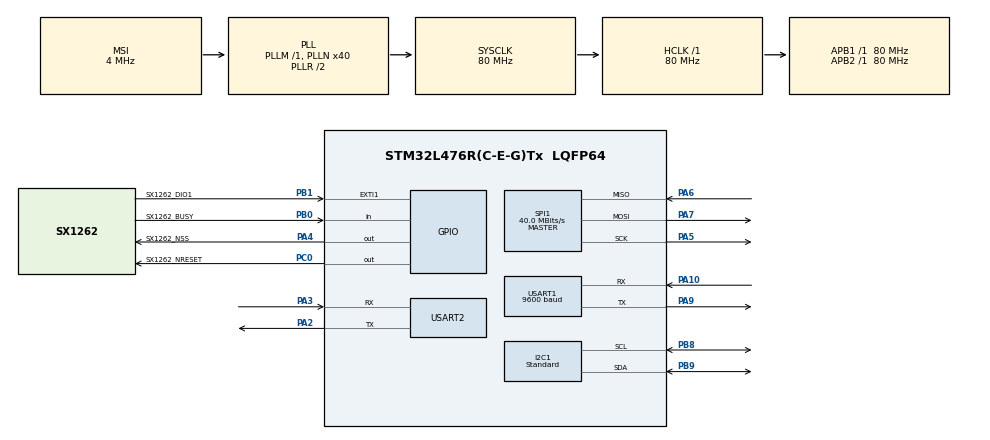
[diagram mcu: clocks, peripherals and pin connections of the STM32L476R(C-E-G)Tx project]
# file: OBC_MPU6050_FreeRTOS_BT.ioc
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FREERTOS.Tasks01=defaultTask,24,128,StartDefaultTask,Default,NULL,Dynamic,NULL,NULL
FREERTOS.configTOTAL_HEAP_SIZE=32000
FREERTOS.configUSE_NEWLIB_REENTRANT=1
I2C1.I2C_Speed_Mode=I2C_Standard
I2C1.Timing=0x10D19CE4
Mcu.Family=STM32L4
Mcu.Name=STM32L476R(C-E-G)Tx
Mcu.Package=LQFP64
NVIC.EXTI1_IRQn=true\:5\:0\:false\:false\:true\:true\:true\:true\:true
NVIC.PriorityGroup=NVIC_PRIORITYGROUP_4
NVIC.TIM6_DAC_IRQn=true\:15\:0\:false\:false\:true\:false\:false\:true\:true
NVIC.TimeBase=TIM6_DAC_IRQn
NVIC.TimeBaseIP=TIM6
PA10.Mode=Asynchronous
PA10.Signal=USART1_RX
PA13\ (JTMS-SWDIO).Mode=Serial_Wire
PA13\ (JTMS-SWDIO).Signal=SYS_JTMS-SWDIO
PA14\ (JTCK-SWCLK).Mode=Serial_Wire
PA14\ (JTCK-SWCLK).Signal=SYS_JTCK-SWCLK
PA2.Mode=Asynchronous
PA2.Signal=USART2_TX
PA3.Mode=Asynchronous
PA3.Signal=USART2_RX
PA4.GPIO_Label=SX1262_NSS
PA4.Signal=GPIO_Output
PA5.Mode=Full_Duplex_Master
PA5.Signal=SPI1_SCK
PA6.Mode=Full_Duplex_Master
PA6.Signal=SPI1_MISO
PA7.Mode=Full_Duplex_Master
PA7.Signal=SPI1_MOSI
PA9.Mode=Asynchronous
PA9.Signal=USART1_TX
PB0.GPIO_Label=SX1262_BUSY
PB0.Signal=GPIO_Input
PB1.GPIO_Label=SX1262_DIO1
PB1.Signal=GPXTI1
PB8.Mode=I2C
PB8.Signal=I2C1_SCL
PB9.Mode=I2C
PB9.Signal=I2C1_SDA
PC0.GPIO_Label=SX1262_NRESET
PC0.Signal=GPIO_Output
ProjectManager.HeapSize=0x200
ProjectManager.StackSize=0x400
ProjectManager.TargetToolchain=STM32CubeIDE
RCC.AHBFreq_Value=80000000
RCC.APB1Freq_Value=80000000
RCC.APB1TimFreq_Value=80000000
RCC.APB2Freq_Value=80000000
RCC.APB2TimFreq_Value=80000000
RCC.CortexFreq_Value=80000000
RCC.HCLKFreq_Value=80000000
RCC.HSE_VALUE=8000000
RCC.HSI_VALUE=16000000
RCC.LSE_VALUE=32768
RCC.MSI_VALUE=4000000
RCC.PLLN=40
RCC.SYSCLKFreq_VALUE=80000000
RCC.SYSCLKSource=RCC_SYSCLKSOURCE_PLLCLK
RCC.VCOOutputFreq_Value=160000000
SPI1.CalculateBaudRate=40.0 MBits/s
SPI1.Direction=SPI_DIRECTION_2LINES
SPI1.Mode=SPI_MODE_MASTER
SPI1.VirtualType=VM_MASTER
USART1.BaudRate=9600
USART1.VirtualMode-Asynchronous=VM_ASYNC
USART2.VirtualMode-Asynchronous=VM_ASYNC
VP_FREERTOS_VS_CMSIS_V2.Mode=CMSIS_V2
VP_SYS_VS_tim6.Mode=TIM6
board=custom

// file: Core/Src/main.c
/* USER CODE BEGIN Header */
/**
  ******************************************************************************
  * @file           : main.c
  * @brief          : Telemetria IMU/magnetometro con FreeRTOS y SX1262
  ******************************************************************************
  * Task_SensorFusion produce quaternion/eCompass y Task_RadioTest transmite
  * el ultimo payload LoRaWAN por SX1262. UART2 (USB, 115200) deja logs.
  ******************************************************************************
  */
/* USER CODE END Header */
#include "main.h"
#include "cmsis_os.h"

/* USER CODE BEGIN Includes */
#include <stdlib.h>
#include <stdio.h>
#include <string.h>
#include <math.h>
#include "FreeRTOS.h"
#include "task.h"
#include "queue.h"
#include "radio_test.h"
#include "mpu6050.h"
#include "hmc5883l.h"
#include "FusionAhrs.h"
#include "FusionBias.h"
#include "lorawan_crypto.h"
/* USER CODE END Includes */

I2C_HandleTypeDef hi2c1;

SPI_HandleTypeDef hspi1;

UART_HandleTypeDef huart1;
UART_HandleTypeDef huart2;

/* Definitions for defaultTask */
osThreadId_t defaultTaskHandle;
const osThreadAttr_t defaultTask_attributes = {
  .name = "defaultTask",
  .stack_size = 128 * 4,
  .priority = (osPriority_t) osPriorityNormal,
};
/* USER CODE BEGIN PV */

#define UART_TX_TIMEOUT_MS   100U
#define LORAWAN_FPORT        44U
#define LORAWAN_MAX_APP_LEN  51U
#define QUAT_UART_PERIOD_MS  20U     /* ~igual al periodo del lazo (vTaskDelay 20ms) → streaming fluido por cable */
#define LORAWAN_TX_PERIOD_MS 10000U
#define MAG_READ_PERIOD_MS   80U     /* HMC5883L a 15 Hz: muestra nueva cada ~67 ms */
#define MAG_DIAG_PERIOD_MS   500U
#define FUSION_USE_MAGNETOMETER 0U
#define FUSION_GAIN             0.50f
#define FUSION_SAMPLE_RATE_HZ   50.0f
#define FUSION_BIAS_STATIONARY_THRESHOLD_DPS 3.0f
#define FUSION_BIAS_STATIONARY_PERIOD_S      3.0f
#define ECOMPASS_ACCEL_DOWN_SIGN (-1.0f) /* Con chip hacia abajo, AZ plano debe quedar cerca de -1g. */
#define ECOMPASS_HEADING_SIGN     1.0f
#define ECOMPASS_HEADING_OFFSET_DEG 0.0f

TaskHandle_t radioTestTaskHandle;
TaskHandle_t sensorFusionTaskHandle;
static SemaphoreHandle_t uartMutexHandle;
static SemaphoreHandle_t telemetryMutexHandle;

typedef struct
{
    char payload[LORAWAN_MAX_APP_LEN + 1U];
    uint32_t updated_ms;
    bool valid;
} TelemetrySnapshot_t;

static TelemetrySnapshot_t telemetry_snapshot = {
    .payload = "QERR,NO_DATA",
    .updated_ms = 0U,
    .valid = false,
};

/* TTN ABP session for end-device stm32-obc-usm.
 * ABP uplinks use DevAddr + session keys; DevEUI is only registry identity. */
static const uint32_t LORAWAN_DEV_ADDR = 0x260D99FD;
static const uint8_t LORAWAN_NWK_SKEY[16] = {
    0x45, 0xEF, 0x6B, 0xB6, 0x4E, 0xCD, 0x79, 0x34,
    0xDF, 0x6D, 0x40, 0x16, 0x57, 0xB0, 0x8F, 0xCD
};
static const uint8_t LORAWAN_APP_SKEY[16] = {
    0x84, 0xE4, 0xEC, 0xD9, 0x06, 0x5F, 0x17, 0xA3,
    0xB0, 0xE2, 0x03, 0xF3, 0x23, 0x28, 0x35, 0xAC
};
static uint32_t lorawan_fcnt_up = 0;

/* USER CODE END PV */

void SystemClock_Config(void);
static void MX_GPIO_Init(void);
static void MX_I2C1_Init(void);
static void MX_USART1_UART_Init(void);
static void MX_USART2_UART_Init(void);
static void MX_SPI1_Init(void);
void StartDefaultTask(void *argument);

/* USER CODE BEGIN PFP */
void Task_RadioTest(void *argument);
void Task_SensorFusion(void *argument);
/* USER CODE END PFP */

/* USER CODE BEGIN 0 */
void vApplicationStackOverflowHook(TaskHandle_t xTask, char *pcTaskName)
{
    char msg[64];
    snprintf(msg, sizeof(msg), "STACK OVERFLOW: %s\r\n", pcTaskName);
    HAL_UART_Transmit(&huart2, (uint8_t*)msg, strlen(msg), HAL_MAX_DELAY);
    __disable_irq();
    while (1) {}
}
/* USER CODE END 0 */

int main(void)
{

  /* MCU Configuration--------------------------------------------------------*/

  /* Reset of all peripherals, Initializes the Flash interface and the Systick. */
  HAL_Init();

  /* Configure the system clock */
  SystemClock_Config();

  /* Initialize all configured peripherals */
  MX_GPIO_Init();
  MX_I2C1_Init();
  MX_USART1_UART_Init();
  MX_USART2_UART_Init();
  MX_SPI1_Init();
  /* USER CODE BEGIN 2 */
  uint32_t pclk1 = HAL_RCC_GetPCLK1Freq();
  char dbg[64];
  snprintf(dbg, sizeof(dbg), "PCLK1=%lu Hz\r\n", pclk1);
  HAL_UART_Transmit(&huart2, (uint8_t*)dbg, strlen(dbg), 100);
  /* USER CODE END 2 */

  /* Init scheduler */
  osKernelInitialize();

  /* USER CODE BEGIN RTOS_MUTEX */
  uartMutexHandle = xSemaphoreCreateMutex();
  telemetryMutexHandle = xSemaphoreCreateMutex();
  if ((uartMutexHandle == NULL) || (telemetryMutexHandle == NULL)) {
    Error_Handler();
  }
  /* USER CODE END RTOS_MUTEX */

  /* Create the thread(s) */
  /* creation of defaultTask */
  defaultTaskHandle = osThreadNew(StartDefaultTask, NULL, &defaultTask_attributes);

  /* USER CODE BEGIN RTOS_THREADS */
  if (xTaskCreate(Task_RadioTest, "RADIOTEST", 1024, NULL, osPriorityNormal, &radioTestTaskHandle) != pdPASS) {
    Error_Handler();
  }
  if (xTaskCreate(Task_SensorFusion, "SENSOR", 1024, NULL, osPriorityAboveNormal, &sensorFusionTaskHandle) != pdPASS) {
    Error_Handler();
  }
  /* USER CODE END RTOS_THREADS */

  /* Start scheduler */
  osKernelStart();

  /* We should never get here as control is now taken by the scheduler */

  /* Infinite loop */
  while (1)
  {

  }
}

void SystemClock_Config(void)
{
  RCC_OscInitTypeDef RCC_OscInitStruct = {0};
  RCC_ClkInitTypeDef RCC_ClkInitStruct = {0};

  /** Configure the main internal regulator output voltage
  */
  if (HAL_PWREx_ControlVoltageScaling(PWR_REGULATOR_VOLTAGE_SCALE1) != HAL_OK)
  {
    Error_Handler();
  }

  /** Initializes the RCC Oscillators according to the specified parameters
  * in the RCC_OscInitTypeDef structure.
  */
  RCC_OscInitStruct.OscillatorType = RCC_OSCILLATORTYPE_MSI;
  RCC_OscInitStruct.MSIState = RCC_MSI_ON;
  RCC_OscInitStruct.MSICalibrationValue = 0;
  RCC_OscInitStruct.MSIClockRange = RCC_MSIRANGE_6;
  RCC_OscInitStruct.PLL.PLLState = RCC_PLL_ON;
  RCC_OscInitStruct.PLL.PLLSource = RCC_PLLSOURCE_MSI;
  RCC_OscInitStruct.PLL.PLLM = 1;
  RCC_OscInitStruct.PLL.PLLN = 40;
  RCC_OscInitStruct.PLL.PLLP = RCC_PLLP_DIV7;
  RCC_OscInitStruct.PLL.PLLQ = RCC_PLLQ_DIV2;
  RCC_OscInitStruct.PLL.PLLR = RCC_PLLR_DIV2;
  if (HAL_RCC_OscConfig(&RCC_OscInitStruct) != HAL_OK)
  {
    Error_Handler();
  }

  /** Initializes the CPU, AHB and APB buses clocks
  */
  RCC_ClkInitStruct.ClockType = RCC_CLOCKTYPE_HCLK|RCC_CLOCKTYPE_SYSCLK
                              |RCC_CLOCKTYPE_PCLK1|RCC_CLOCKTYPE_PCLK2;
  RCC_ClkInitStruct.SYSCLKSource = RCC_SYSCLKSOURCE_PLLCLK;
  RCC_ClkInitStruct.AHBCLKDivider = RCC_SYSCLK_DIV1;
  RCC_ClkInitStruct.APB1CLKDivider = RCC_HCLK_DIV1;
  RCC_ClkInitStruct.APB2CLKDivider = RCC_HCLK_DIV1;

  if (HAL_RCC_ClockConfig(&RCC_ClkInitStruct, FLASH_LATENCY_4) != HAL_OK)
  {
    Error_Handler();
  }
}

static void MX_I2C1_Init(void)
{

  hi2c1.Instance = I2C1;
  hi2c1.Init.Timing = 0x10D19CE4;
  hi2c1.Init.OwnAddress1 = 0;
  hi2c1.Init.AddressingMode = I2C_ADDRESSINGMODE_7BIT;
  hi2c1.Init.DualAddressMode = I2C_DUALADDRESS_DISABLE;
  hi2c1.Init.OwnAddress2 = 0;
  hi2c1.Init.OwnAddress2Masks = I2C_OA2_NOMASK;
  hi2c1.Init.GeneralCallMode = I2C_GENERALCALL_DISABLE;
  hi2c1.Init.NoStretchMode = I2C_NOSTRETCH_DISABLE;
  if (HAL_I2C_Init(&hi2c1) != HAL_OK)
  {
    Error_Handler();
  }

  /** Configure Analogue filter
  */
  if (HAL_I2CEx_ConfigAnalogFilter(&hi2c1, I2C_ANALOGFILTER_ENABLE) != HAL_OK)
  {
    Error_Handler();
  }

  /** Configure Digital filter
  */
  if (HAL_I2CEx_ConfigDigitalFilter(&hi2c1, 0) != HAL_OK)
  {
    Error_Handler();
  }

}

static void MX_SPI1_Init(void)
{

  /* SPI1 parameter configuration*/
  hspi1.Instance = SPI1;
  hspi1.Init.Mode = SPI_MODE_MASTER;
  hspi1.Init.Direction = SPI_DIRECTION_2LINES;
  hspi1.Init.DataSize = SPI_DATASIZE_8BIT;
  hspi1.Init.CLKPolarity = SPI_POLARITY_LOW;
  hspi1.Init.CLKPhase = SPI_PHASE_1EDGE;
  hspi1.Init.NSS = SPI_NSS_SOFT;
  hspi1.Init.BaudRatePrescaler = SPI_BAUDRATEPRESCALER_64; /* ~1.25 MHz, validado para este cableado de protoboard */
  hspi1.Init.FirstBit = SPI_FIRSTBIT_MSB;
  hspi1.Init.TIMode = SPI_TIMODE_DISABLE;
  hspi1.Init.CRCCalculation = SPI_CRCCALCULATION_DISABLE;
  hspi1.Init.CRCPolynomial = 7;
  hspi1.Init.CRCLength = SPI_CRC_LENGTH_DATASIZE;
  hspi1.Init.NSSPMode = SPI_NSS_PULSE_ENABLE;
  if (HAL_SPI_Init(&hspi1) != HAL_OK)
  {
    Error_Handler();
  }

}

static void MX_USART1_UART_Init(void)
{

  huart1.Instance = USART1;
  huart1.Init.BaudRate = 9600;
  huart1.Init.WordLength = UART_WORDLENGTH_8B;
  huart1.Init.StopBits = UART_STOPBITS_1;
  huart1.Init.Parity = UART_PARITY_NONE;
  huart1.Init.Mode = UART_MODE_TX_RX;
  huart1.Init.HwFlowCtl = UART_HWCONTROL_NONE;
  huart1.Init.OverSampling = UART_OVERSAMPLING_16;
  huart1.Init.OneBitSampling = UART_ONE_BIT_SAMPLE_DISABLE;
  huart1.AdvancedInit.AdvFeatureInit = UART_ADVFEATURE_NO_INIT;
  if (HAL_UART_Init(&huart1) != HAL_OK)
  {
    Error_Handler();
  }

}

static void MX_USART2_UART_Init(void)
{

  huart2.Instance = USART2;
  huart2.Init.BaudRate = 115200;
  huart2.Init.WordLength = UART_WORDLENGTH_8B;
  huart2.Init.StopBits = UART_STOPBITS_1;
  huart2.Init.Parity = UART_PARITY_NONE;
  huart2.Init.Mode = UART_MODE_TX_RX;
  huart2.Init.HwFlowCtl = UART_HWCONTROL_NONE;
  huart2.Init.OverSampling = UART_OVERSAMPLING_16;
  huart2.Init.OneBitSampling = UART_ONE_BIT_SAMPLE_DISABLE;
  huart2.AdvancedInit.AdvFeatureInit = UART_ADVFEATURE_NO_INIT;
  if (HAL_UART_Init(&huart2) != HAL_OK)
  {
    Error_Handler();
  }

}

static void MX_GPIO_Init(void)
{
  GPIO_InitTypeDef GPIO_InitStruct = {0};

  /* GPIO Ports Clock Enable */
  __HAL_RCC_GPIOC_CLK_ENABLE();
  __HAL_RCC_GPIOA_CLK_ENABLE();
  __HAL_RCC_GPIOB_CLK_ENABLE();

  /*Configure GPIO pin Output Level */
  HAL_GPIO_WritePin(SX1262_NRESET_GPIO_Port, SX1262_NRESET_Pin, GPIO_PIN_RESET);

  /*Configure GPIO pin Output Level */
  /* NSS arranca en alto (deseleccionado) — en bajo deja al SX1262
   * seleccionado antes de que el SPI esté listo para transaccionar. */
  HAL_GPIO_WritePin(SX1262_NSS_GPIO_Port, SX1262_NSS_Pin, GPIO_PIN_SET);

  /*Configure GPIO pin : SX1262_NRESET_Pin */
  GPIO_InitStruct.Pin = SX1262_NRESET_Pin;
  GPIO_InitStruct.Mode = GPIO_MODE_OUTPUT_PP;
  GPIO_InitStruct.Pull = GPIO_NOPULL;
  GPIO_InitStruct.Speed = GPIO_SPEED_FREQ_LOW;
  HAL_GPIO_Init(SX1262_NRESET_GPIO_Port, &GPIO_InitStruct);

  /*Configure GPIO pin : SX1262_NSS_Pin */
  GPIO_InitStruct.Pin = SX1262_NSS_Pin;
  GPIO_InitStruct.Mode = GPIO_MODE_OUTPUT_PP;
  GPIO_InitStruct.Pull = GPIO_NOPULL;
  GPIO_InitStruct.Speed = GPIO_SPEED_FREQ_LOW;
  HAL_GPIO_Init(SX1262_NSS_GPIO_Port, &GPIO_InitStruct);

  /*Configure GPIO pin : SX1262_BUSY_Pin */
  /* Pull-down a propósito (diagnóstico): si el módulo está desconectado o
   * sin alimentación, BUSY flotante debe leerse en bajo de forma estable
   * en vez de ruido ambiguo — así "BUSY libre" no da falsa confianza. */
  GPIO_InitStruct.Pin = SX1262_BUSY_Pin;
  GPIO_InitStruct.Mode = GPIO_MODE_INPUT;
  GPIO_InitStruct.Pull = GPIO_PULLDOWN;
  HAL_GPIO_Init(SX1262_BUSY_GPIO_Port, &GPIO_InitStruct);

  /*Configure GPIO pin : SX1262_DIO1_Pin */
  GPIO_InitStruct.Pin = SX1262_DIO1_Pin;
  GPIO_InitStruct.Mode = GPIO_MODE_IT_RISING;
  GPIO_InitStruct.Pull = GPIO_NOPULL;
  HAL_GPIO_Init(SX1262_DIO1_GPIO_Port, &GPIO_InitStruct);

  /* EXTI interrupt init*/
  HAL_NVIC_SetPriority(EXTI1_IRQn, 5, 0);
  HAL_NVIC_EnableIRQ(EXTI1_IRQn);

}

/* USER CODE BEGIN 4 */

/*
 * Task_RadioTest — build de prueba mínima del driver SX1262 (Semtech
 * sx126x_driver vendorizado + HAL STM32 propio, ver Drivers/SX126x/).
 *
 * Secuencia: REGTEST -> XOSC -> telemetría de quaternion por LoRa cada 10 s.
 * REGTEST es diagnóstico: por defecto no detiene el flujo.
 */
static int16_t quat_to_q10000(float value)
{
    if (value > 1.0f) {
        value = 1.0f;
    } else if (value < -1.0f) {
        value = -1.0f;
    }

    const float scaled = value * 10000.0f;
    return (int16_t)((scaled >= 0.0f) ? (scaled + 0.5f) : (scaled - 0.5f));
}

static void format_quaternion_payload(const FusionQuaternion q, char *payload, size_t payload_len)
{
    snprintf(payload, payload_len, "Q,%+06d,%+06d,%+06d,%+06d",
             quat_to_q10000(q.element.w),
             quat_to_q10000(q.element.x),
             quat_to_q10000(q.element.y),
             quat_to_q10000(q.element.z));
}

static int16_t mag_to_payload_d10(float value_mg)
{
    float value = value_mg * 0.1f;
    if (value > 999.0f) {
        value = 999.0f;
    }
    if (value < -999.0f) {
        value = -999.0f;
    }
    return (int16_t)((value >= 0.0f) ? (value + 0.5f) : (value - 0.5f));
}

static float wrap_heading_degrees(float heading)
{
    while (heading < 0.0f) {
        heading += 360.0f;
    }
    while (heading >= 360.0f) {
        heading -= 360.0f;
    }
    return heading;
}

static void compass_vector_from_heading(float heading_deg,
                                        HMC5883L_CalData_t *horizontal)
{
    if (horizontal == NULL) return;

    const float heading_rad = heading_deg * (3.14159265358979323846f / 180.0f);
    horizontal->x = 1000.0f * cosf(heading_rad);
    horizontal->y = 1000.0f * sinf(heading_rad);
    horizontal->z = 0.0f;
}

static bool calculate_ecompass_heading_an4248(const FusionVector accelerometer,
                                              const FusionVector magnetometer,
                                              float *heading_deg)
{
    if (heading_deg == NULL) {
        return false;
    }

    const float ax = accelerometer.axis.x;
    const float ay = accelerometer.axis.y;
    const float az = accelerometer.axis.z;
    const float accel_norm = sqrtf((ax * ax) + (ay * ay) + (az * az));
    if (accel_norm < 0.25f) {
        return false;
    }

    /* AN4248: acelerómetro y magnetómetro primero deben estar en el mismo
     * marco. Convertimos la lectura del acelerómetro en vector "down". */
    const float down_x = ECOMPASS_ACCEL_DOWN_SIGN * ax / accel_norm;
    const float down_y = ECOMPASS_ACCEL_DOWN_SIGN * ay / accel_norm;
    const float down_z = ECOMPASS_ACCEL_DOWN_SIGN * az / accel_norm;

    const float mx = magnetometer.axis.x;
    const float my = magnetometer.axis.y;
    const float mz = magnetometer.axis.z;
    const float vertical_mag = (mx * down_x) + (my * down_y) + (mz * down_z);

    const float north_x = mx - (vertical_mag * down_x);
    const float north_y = my - (vertical_mag * down_y);
    const float horizontal_norm = sqrtf((north_x * north_x) + (north_y * north_y));
    if (horizontal_norm < 1.0f) {
        return false;
    }

    *heading_deg = wrap_heading_degrees((ECOMPASS_HEADING_SIGN *
                                        atan2f(north_y, north_x) *
                                        (180.0f / 3.14159265358979323846f)) +
                                        ECOMPASS_HEADING_OFFSET_DEG);
    return true;
}

static void format_telemetry_payload(const FusionQuaternion q,
                                     const HMC5883L_CalData_t *mag,
                                     bool mag_ok,
                                     char *payload,
                                     size_t payload_len)
{
    if (mag_ok && (mag != NULL)) {
        snprintf(payload, payload_len,
                 "Q,%+06d,%+06d,%+06d,%+06d,M,%+04d,%+04d,%+04d,%u",
                 quat_to_q10000(q.element.w),
                 quat_to_q10000(q.element.x),
                 quat_to_q10000(q.element.y),
                 quat_to_q10000(q.element.z),
                 mag_to_payload_d10(mag->x),
                 mag_to_payload_d10(mag->y),
                 mag_to_payload_d10(mag->z),
                 1U);
    } else {
        format_quaternion_payload(q, payload, payload_len);
    }
}

static int16_t clamp_float_to_i16(float value)
{
    if (value > 32767.0f) {
        return 32767;
    }
    if (value < -32768.0f) {
        return -32768;
    }
    return (int16_t)((value >= 0.0f) ? (value + 0.5f) : (value - 0.5f));
}

static uint8_t build_lorawan_abp_uplink(const uint8_t *app_payload,
                                        uint8_t app_len,
                                        uint8_t fport,
                                        uint8_t *frame,
                                        uint8_t frame_max)
{
    if ((app_payload == NULL) || (frame == NULL) ||
        (app_len > LORAWAN_MAX_APP_LEN) || (frame_max < (uint8_t)(13U + app_len))) {
        return 0;
    }

    uint8_t idx = 0;
    frame[idx++] = 0x40; /* MHDR: Unconfirmed Data Up, LoRaWAN 1.0 */

    frame[idx++] = (uint8_t)(LORAWAN_DEV_ADDR & 0xFF);
    frame[idx++] = (uint8_t)((LORAWAN_DEV_ADDR >> 8) & 0xFF);
    frame[idx++] = (uint8_t)((LORAWAN_DEV_ADDR >> 16) & 0xFF);
    frame[idx++] = (uint8_t)((LORAWAN_DEV_ADDR >> 24) & 0xFF);

    frame[idx++] = 0x00; /* FCtrl: no ADR, no ACK, FOptsLen=0 */
    frame[idx++] = (uint8_t)(lorawan_fcnt_up & 0xFF);
    frame[idx++] = (uint8_t)((lorawan_fcnt_up >> 8) & 0xFF);
    frame[idx++] = fport;

    lorawan_encrypt_payload(app_payload, app_len, LORAWAN_DEV_ADDR,
                            lorawan_fcnt_up, LORAWAN_APP_SKEY, &frame[idx]);
    idx += app_len;

    uint8_t mic[4];
    lorawan_compute_mic(frame, idx, LORAWAN_DEV_ADDR, lorawan_fcnt_up,
                        LORAWAN_NWK_SKEY, mic);
    memcpy(&frame[idx], mic, sizeof(mic));
    idx += sizeof(mic);

    lorawan_fcnt_up++;
    return idx;
}

static void uart2_write(const char *msg)
{
    if (msg == NULL) {
        return;
    }

    if (uartMutexHandle != NULL) {
        xSemaphoreTake(uartMutexHandle, portMAX_DELAY);
    }
    HAL_UART_Transmit(&huart2, (uint8_t*)msg, strlen(msg), UART_TX_TIMEOUT_MS);
    if (uartMutexHandle != NULL) {
        xSemaphoreGive(uartMutexHandle);
    }
}

static void telemetry_publish(const char *payload)
{
    if (payload == NULL) {
        return;
    }

    xSemaphoreTake(telemetryMutexHandle, portMAX_DELAY);
    snprintf(telemetry_snapshot.payload, sizeof(telemetry_snapshot.payload), "%s", payload);
    telemetry_snapshot.updated_ms = HAL_GetTick();
    telemetry_snapshot.valid = true;
    xSemaphoreGive(telemetryMutexHandle);
}

static bool telemetry_copy(char *payload, size_t payload_len)
{
    bool valid;

    if ((payload == NULL) || (payload_len == 0U)) {
        return false;
    }

    xSemaphoreTake(telemetryMutexHandle, portMAX_DELAY);
    snprintf(payload, payload_len, "%s", telemetry_snapshot.payload);
    valid = telemetry_snapshot.valid;
    xSemaphoreGive(telemetryMutexHandle);

    return valid;
}

void Task_RadioTest(void *argument)
{
    char msg[192];

    vTaskDelay(pdMS_TO_TICKS(500));

    snprintf(msg, sizeof(msg), "[BUILD] radio_test %s %s\r\n", __DATE__, __TIME__);
    uart2_write(msg);

    radio_test_init(&hspi1);

    bool reg_ok = radio_register_test();
    snprintf(msg, sizeof(msg), "[REGTEST] resultado=%s\r\n", reg_ok ? "OK" : "FAIL");
    uart2_write(msg);

    if (!reg_ok && (RADIO_STOP_ON_REGTEST_FAIL != 0)) {
        const char *stop_msg = "[RADIOTEST] detenido: REGTEST fallo\r\n";
        uart2_write(stop_msg);
        for (;;) {
            vTaskDelay(pdMS_TO_TICKS(1000));
        }
    } else if (!reg_ok) {
        const char *cont_msg = "[RADIOTEST] REGTEST fallo, continuo con XOSC/TX\r\n";
        uart2_write(cont_msg);
    }

    bool xosc_ok = radio_xosc_test();
    snprintf(msg, sizeof(msg), "[XOSC] resultado=%s\r\n", xosc_ok ? "OK" : "FAIL");
    uart2_write(msg);

    TickType_t last_wake = xTaskGetTickCount();
    for (;;) {
        vTaskDelayUntil(&last_wake, pdMS_TO_TICKS(LORAWAN_TX_PERIOD_MS));

        char payload[LORAWAN_MAX_APP_LEN + 1U];
        if (!telemetry_copy(payload, sizeof(payload))) {
            snprintf(payload, sizeof(payload), "QERR,NO_DATA");
        }

        uint8_t frame[64];
        const uint32_t fcnt_sent = lorawan_fcnt_up;
        uint8_t frame_len = build_lorawan_abp_uplink((const uint8_t*)payload,
                                                     (uint8_t)strlen(payload),
                                                     LORAWAN_FPORT,
                                                     frame,
                                                     sizeof(frame));
        bool tx_ok = false;
        if (frame_len > 0U) {
            tx_ok = radio_send_payload(frame, frame_len);
        }
        snprintf(msg, sizeof(msg), ">> TX LoRaWAN fcnt=%lu len=%u r=%s\r\n",
                 (unsigned long)fcnt_sent, frame_len, tx_ok ? "OK" : "FAIL");
        uart2_write(msg);
    }
}

void Task_SensorFusion(void *argument)
{
    char msg[192];

    FusionAhrs ahrs;
    FusionAhrsInitialise(&ahrs);
    FusionAhrsSettings ahrs_settings = fusionAhrsDefaultSettings;
    ahrs_settings.gain = FUSION_GAIN;
    ahrs_settings.gyroscopeRange = 250.0f;
    /*
     * La fusión no usa magnetómetro para corregir orientación, por lo que el
     * acelerómetro es la única referencia absoluta de roll/pitch. 20° era
     * demasiado estricto: si el equipo arrancaba o se movía y quedaba con más
     * error, Fusion ignoraba el acelerómetro y el quaternion no podía volver.
     */
    ahrs_settings.accelerationRejection = 90.0f;
    ahrs_settings.magneticRejection = 20.0f;
    ahrs_settings.recoveryTriggerPeriod = 250U;
    FusionAhrsSetSettings(&ahrs, &ahrs_settings);

    FusionBias gyro_bias;
    FusionBiasInitialise(&gyro_bias);
    FusionBiasSettings bias_settings = fusionBiasDefaultSettings;
    bias_settings.sampleRate = FUSION_SAMPLE_RATE_HZ;
    bias_settings.stationaryThreshold = FUSION_BIAS_STATIONARY_THRESHOLD_DPS;
    bias_settings.stationaryPeriod = FUSION_BIAS_STATIONARY_PERIOD_S;
    FusionBiasSetSettings(&gyro_bias, &bias_settings);

    bool imu_ok = (MPU6050_Init(&hi2c1) == HAL_OK);
    snprintf(msg, sizeof(msg), "[IMU] MPU6050=%s\r\n", imu_ok ? "OK" : "FAIL");
    uart2_write(msg);

    uint8_t mag_id[3] = {0};
    HAL_StatusTypeDef mag_id_status = HMC5883L_ReadId(&hi2c1, mag_id);
    snprintf(msg, sizeof(msg), "[MAG] ID ret=%ld bytes=%02X %02X %02X\r\n",
             (long)mag_id_status, mag_id[0], mag_id[1], mag_id[2]);
    uart2_write(msg);

    bool mag_ok = (HMC5883L_Init(&hi2c1) == HAL_OK);
    snprintf(msg, sizeof(msg), "[MAG] HMC5883L=%s\r\n", mag_ok ? "OK" : "FAIL");
    uart2_write(msg);
    const char *ori_msg = "[ORI] chip-down body: X=chipX Y=-chipY Z=chipZ heading_sign=+1 offset=0\r\n";
    uart2_write(ori_msg);
    const char *mag_map_msg = "[MAGMAP] bodyX=+chipX bodyY=-chipY bodyZ=+chipZ\r\n";
    uart2_write(mag_map_msg);

    uint32_t last_update_ms = HAL_GetTick();
    uint32_t last_uart_ms = HAL_GetTick();
    uint32_t last_mag_ms = 0U;
    uint32_t last_mag_diag_ms = 0U;

    MPU6050_CalibratedData_t last_cal = {0};
    HMC5883L_RawData_t last_mag_raw = {0};
    HMC5883L_CalData_t last_mag_chip = {0};
    HMC5883L_CalData_t last_mag_cal = {0};
    HMC5883L_CalData_t last_mag_compass = {0};
    float last_heading_deg = 0.0f;
    bool imu_data_ok = imu_ok;
    bool mag_data_ok = false;
    bool last_ecompass_ok = false;
    uint8_t mag_fail_count = 0U;
    TickType_t last_wake = xTaskGetTickCount();

    for (;;)
    {
        const uint32_t now_ms = HAL_GetTick();
        float delta_time = (float)(now_ms - last_update_ms) * 0.001f;
        last_update_ms = now_ms;
        if (delta_time <= 0.0f || delta_time > 0.1f) {
            delta_time = 0.02f;
        }

        imu_data_ok = false;
        mag_data_ok = false;

        if (imu_ok) {
            MPU6050_RawData_t raw;
            MPU6050_CalibratedData_t cal;
            if (MPU6050_ReadRaw(&hi2c1, &raw) == HAL_OK) {
                imu_data_ok = true;
                MPU6050_ApplyCalibration(&raw, &cal);
                last_cal = cal;

                const FusionVector gyroscope = {
                    .axis = { .x = cal.gx_w, .y = cal.gy_w, .z = cal.gz_w }
                };
                const FusionVector corrected_gyroscope = FusionBiasUpdate(&gyro_bias, gyroscope);
                const FusionVector accelerometer = {
                    .axis = { .x = cal.ax_w, .y = cal.ay_w, .z = cal.az_w }
                };

                if (mag_ok && ((now_ms - last_mag_ms) >= MAG_READ_PERIOD_MS)) {
                    last_mag_ms = now_ms;
                    HMC5883L_RawData_t mag_raw;
                    if (HMC5883L_ReadRaw(&hi2c1, &mag_raw) == HAL_OK) {
                        mag_data_ok = true;
                        mag_fail_count = 0U;
                        HMC5883L_CalData_t mag_chip = {0};
                        HMC5883L_CalData_t mag_world = {0};
                        HMC5883L_ApplyCalibration(&mag_raw, &mag_chip);
                        HMC5883L_RotateToBody(&mag_chip, &mag_world);
                        last_mag_raw = mag_raw;
                        last_mag_chip = mag_chip;
                        last_mag_cal = mag_world;
                        const FusionVector magnetometer = {
                            .axis = { .x = mag_world.x, .y = mag_world.y, .z = mag_world.z }
                        };
                        float heading = 0.0f;
                        if (calculate_ecompass_heading_an4248(accelerometer,
                                                              magnetometer,
                                                              &heading)) {
                            last_heading_deg = heading;
                            compass_vector_from_heading(heading, &last_mag_compass);
                            last_ecompass_ok = true;
                        } else {
                            last_mag_compass = (HMC5883L_CalData_t){0};
                            last_ecompass_ok = false;
                        }
                    } else {
                        if (mag_fail_count < 255U) {
                            mag_fail_count++;
                        }
                        if (mag_fail_count >= 5U) {
                            mag_ok = (HMC5883L_Init(&hi2c1) == HAL_OK);
                            mag_fail_count = 0U;
                            uart2_write("[MAG] reinit\r\n");
                        }
                    }
                }
                mag_data_ok = mag_ok &&
                              last_ecompass_ok &&
                              ((last_mag_raw.x != 0) || (last_mag_raw.y != 0) || (last_mag_raw.z != 0));

                if ((FUSION_USE_MAGNETOMETER != 0U) && mag_data_ok) {
                    const FusionVector magnetometer = {
                        .axis = { .x = last_mag_cal.x, .y = last_mag_cal.y, .z = last_mag_cal.z }
                    };
                    FusionAhrsUpdate(&ahrs, corrected_gyroscope, accelerometer, magnetometer, delta_time);
                } else {
                    FusionAhrsUpdateNoMagnetometer(&ahrs, corrected_gyroscope, accelerometer, delta_time);
                }
            } else {
                imu_ok = false;
                last_cal = (MPU6050_CalibratedData_t){0};
                last_mag_raw = (HMC5883L_RawData_t){0};
                last_mag_chip = (HMC5883L_CalData_t){0};
                last_mag_cal = (HMC5883L_CalData_t){0};
                last_mag_compass = (HMC5883L_CalData_t){0};
                last_ecompass_ok = false;
                FusionAhrsSetQuaternion(&ahrs, FUSION_QUATERNION_IDENTITY);
                uart2_write("[IMU] read FAIL\r\n");
            }
        }

        char payload[LORAWAN_MAX_APP_LEN + 1U];
        if (imu_data_ok) {
            format_telemetry_payload(FusionAhrsGetQuaternion(&ahrs),
                                     &last_mag_compass,
                                     mag_data_ok,
                                     payload,
                                     sizeof(payload));
        } else {
            snprintf(payload, sizeof(payload), "QERR,MPU6050");
        }
        telemetry_publish(payload);

        if ((HAL_GetTick() - last_uart_ms) >= QUAT_UART_PERIOD_MS) {
            last_uart_ms = HAL_GetTick();
            FusionQuaternion q = imu_data_ok ? FusionAhrsGetQuaternion(&ahrs) : FUSION_QUATERNION_IDENTITY;
            snprintf(msg, sizeof(msg),
                     "T=%lu|AX=%d AY=%d AZ=%d|GX=%d GY=%d GZ=%d|MX=%d MY=%d MZ=%d|Q=%d,%d,%d,%d|MAG=%s\r\n",
                     (unsigned long)HAL_GetTick(),
                     clamp_float_to_i16(last_cal.ax_w * 1000.0f),
                     clamp_float_to_i16(last_cal.ay_w * 1000.0f),
                     clamp_float_to_i16(last_cal.az_w * 1000.0f),
                     clamp_float_to_i16(last_cal.gx_w * 100.0f),
                     clamp_float_to_i16(last_cal.gy_w * 100.0f),
                     clamp_float_to_i16(last_cal.gz_w * 100.0f),
                     clamp_float_to_i16(last_mag_compass.x),
                     clamp_float_to_i16(last_mag_compass.y),
                     clamp_float_to_i16(last_mag_compass.z),
                     quat_to_q10000(q.element.w),
                     quat_to_q10000(q.element.x),
                     quat_to_q10000(q.element.y),
                     quat_to_q10000(q.element.z),
                     mag_data_ok ? "OK" : "ERR");
            uart2_write(msg);
        }

        if ((HAL_GetTick() - last_mag_diag_ms) >= MAG_DIAG_PERIOD_MS) {
            last_mag_diag_ms = HAL_GetTick();
            snprintf(msg, sizeof(msg),
                     "[MAGD] R=%d,%d,%d C=%d,%d,%d B=%d,%d,%d H=%d OK=%u\r\n",
                     last_mag_raw.x,
                     last_mag_raw.y,
                     last_mag_raw.z,
                     clamp_float_to_i16(last_mag_chip.x),
                     clamp_float_to_i16(last_mag_chip.y),
                     clamp_float_to_i16(last_mag_chip.z),
                     clamp_float_to_i16(last_mag_cal.x),
                     clamp_float_to_i16(last_mag_cal.y),
                     clamp_float_to_i16(last_mag_cal.z),
                     clamp_float_to_i16(last_heading_deg * 10.0f),
                     mag_data_ok ? 1U : 0U);
            uart2_write(msg);
        }

        vTaskDelayUntil(&last_wake, pdMS_TO_TICKS(20));
    }
}

/* USER CODE END 4 */

void StartDefaultTask(void *argument)
{
  for(;;)
  {
    osDelay(1);
  }
}

void HAL_TIM_PeriodElapsedCallback(TIM_HandleTypeDef *htim)
{
  if (htim->Instance == TIM6)
  {
    HAL_IncTick();
  }
}

void Error_Handler(void)
{
  __disable_irq();
  while (1)
  {
  }
}
